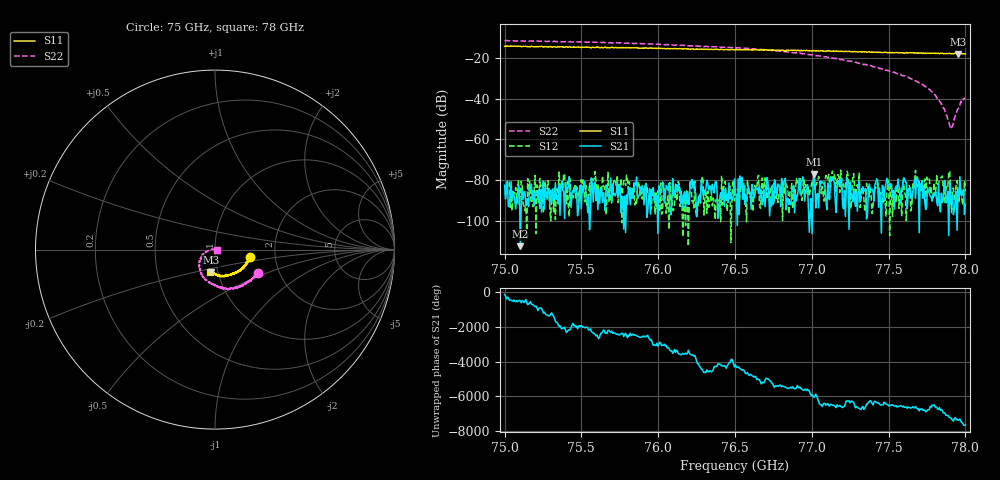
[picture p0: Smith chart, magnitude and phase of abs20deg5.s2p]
# Hz S MA R 50
! CMT, C4420, 21421029, 25.1.2/3
! Date: 8/7/2025 1:34:52 PM
! Data: Format (Calibration Info)
! Freq	S33:Mag/Ang(F2)	S43:Mag/Ang(F2)	S34:Mag/Ang(F2)	S44:Mag/Ang(F2)
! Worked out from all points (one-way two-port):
!   500 points, 75 GHz to 78 GHz, reference 50 ohm
!   highest |S21| = -77.20 dB at 77.014 GHz (marker M1); lowest = -112.6 dB at 75.102 GHz (marker M2)
!   lowest |S11| = -17.9 dB at 77.952 GHz (marker M3), VSWR 1.29, Z = 46.6 - j11.9 ohm
!   |S11| at or under -10 dB: start of sweep to end of sweep
!   |S22| runs from -54.7 to -11.2 dB; largest |S21 - S12| = 0.00017
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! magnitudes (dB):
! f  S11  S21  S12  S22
! 75 GHz  -14.1  -82.6  -86.2  -11.3
! 75.102 GHz  -14.1  -112.6  -87.4  -11.5
! 75.379 GHz  -14.5  -84.9  -83.7  -11.9
! 75.505 GHz  -14.5  -83.5  -86.3  -11.9
! 75.577 GHz  -14.6  -90.8  -80.2  -12.1
! 75.607 GHz  -14.5  -94.5  -82.0  -12.2
! 76.004 GHz  -15.1  -82.8  -92.1  -13.0
! 76.503 GHz  -15.8  -86.7  -85.1  -14.8
! 77.002 GHz  -16.3  -106.4  -81.1  -18.3
! 77.014 GHz  -16.2  -77.2  -78.5  -18.4
! 77.14 GHz  -16.3  -79.6  -79.6  -20.0
! 77.206 GHz  -16.6  -94.1  -81.9  -20.9
! 77.224 GHz  -16.6  -83.9  -79.6  -21.0
! 77.501 GHz  -17.3  -83.2  -80.9  -26.1
! 77.675 GHz  -17.4  -89.1  -75.2  -31.1
! 77.778 GHz  -17.5  -88.5  -83.1  -36.3
! 77.85 GHz  -17.5  -91.0  -78.0  -42.8
! 77.874 GHz  -17.6  -91.3  -84.5  -47.6
! 77.904 GHz  -17.7  -91.8  -86.6  -54.7
! 77.916 GHz  -17.7  -87.4  -85.1  -53.4
! 77.952 GHz  -17.9  -85.2  -86.6  -44.9
! 78 GHz  -17.9  -91.9  -85.6  -39.9
